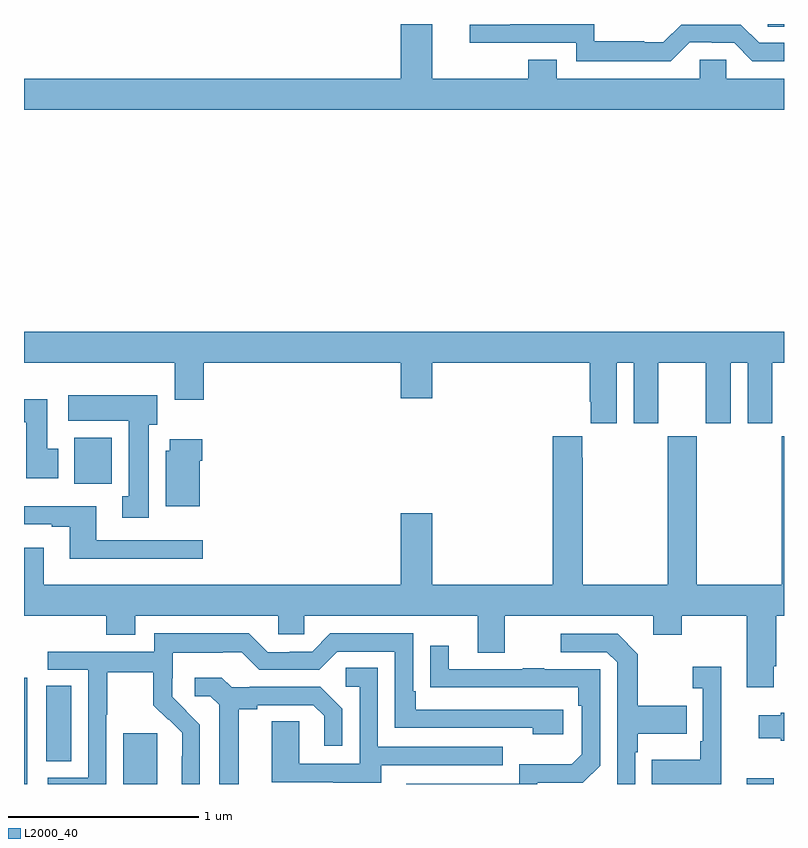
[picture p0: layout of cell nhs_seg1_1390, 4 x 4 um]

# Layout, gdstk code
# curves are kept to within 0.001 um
import gdstk
lib = gdstk.Library(unit=1e-6, precision=1e-09)
def R(c, l, rs):  # rectangles x0, y0, x1, y1
    for r in rs: c.add(gdstk.rectangle(r[:2], r[2:], *l))
def P(c, l, *ps):  # polygons
    for p in ps: c.add(gdstk.Polygon(p, *l))
L2000_40 = (2000, 40)

nhs_seg1_1390 = lib.new_cell('nhs_seg1_1390')
R(nhs_seg1_1390, L2000_40, [(187,532.199,187.018,532.759), (187.523,532.199,187.702,532.467), (190.805,532.199,190.945,532.228), (187.118,532.318,187.249,532.715), (187.265,533.78,187.462,534.022), (190.914,536.185,191,536.199)])
P(nhs_seg1_1390, L2000_40, [(190.503,536.103),(190.619,536.103),(190.619,536.1),(190.737,536.1),(190.833,536.004),(191,536.004),(191,536.1),(190.869,536.1),(190.773,536.196),(190.458,536.196),(190.365,536.103),(190.265,536.103),(190.265,536.107),(190.002,536.107),(190.002,536.199),(189.558,536.199),(189.558,536.196),(189.345,536.196),(189.345,536.1),(189.906,536.1),(189.906,536.003),(190.403,536.003)],
  [(191,535.912),(190.695,535.912),(190.695,536.01),(190.557,536.01),(190.557,535.912),(189.805,535.912),(189.805,536.011),(189.653,536.011),(189.653,535.912),(189.148,535.912),(189.148,536.199),(188.984,536.199),(188.984,535.912),(187,535.912),(187,535.748),(191,535.748)],
  [(190.12,534.416),(190.208,534.416),(190.208,534.099),(190.339,534.099),(190.339,534.416),(190.589,534.416),(190.589,534.099),(190.72,534.099),(190.72,534.416),(190.808,534.416),(190.808,534.099),(190.939,534.099),(190.939,534.416),(191,534.416),(191,534.58),(187,534.58),(187,534.416),(187.793,534.416),(187.793,534.222),(187.946,534.222),(187.946,534.416),(188.984,534.416),(188.984,534.228),(189.148,534.228),(189.148,534.416),(189.977,534.416),(189.977,534.211),(189.983,534.211),(189.983,534.099),(190.12,534.099)],
  [(187.657,534.09),(187.702,534.09),(187.702,534.244),(187.233,534.244),(187.233,534.11),(187.55,534.11),(187.55,533.714),(187.517,533.714),(187.517,533.601),(187.657,533.601)],
  [(187.18,533.964),(187.123,533.964),(187.123,534.223),(187,534.223),(187,534.104),(187.013,534.104),(187.013,533.808),(187.18,533.808)],
  [(190.945,532.819),(190.958,532.819),(190.958,533.084),(191,533.084),(191,534.028),(190.987,534.028),(190.987,533.248),(190.542,533.248),(190.542,534.028),(190.387,534.028),(190.387,533.248),(189.942,533.248),(189.942,533.915),(189.937,533.915),(189.937,534.028),(189.782,534.028),(189.782,533.248),(189.148,533.248),(189.148,533.623),(188.984,533.623),(188.984,533.248),(187.105,533.248),(187.105,533.443),(187,533.443),(187,533.084),(187.433,533.084),(187.433,532.985),(187.585,532.985),(187.585,533.084),(188.337,533.084),(188.337,532.986),(188.475,532.986),(188.475,533.084),(189.389,533.084),(189.389,532.89),(189.529,532.89),(189.529,533.084),(190.313,533.084),(190.313,532.985),(190.461,532.985),(190.461,533.084),(190.805,533.084),(190.805,532.707),(190.945,532.707)],
  [(187.924,533.9),(187.937,533.9),(187.937,534.013),(187.766,534.013),(187.766,533.952),(187.745,533.952),(187.745,533.66),(187.924,533.66)],
  [(187.942,533.481),(187.381,533.481),(187.381,533.662),(187,533.662),(187,533.565),(187.145,533.565),(187.145,533.553),(187.241,533.553),(187.241,533.384),(187.942,533.384)],
  [(187.434,532.564),(187.437,532.564),(187.437,532.788),(187.681,532.788),(187.681,532.613),(187.758,532.536),(187.761,532.539),(187.832,532.469),(187.832,532.346),(187.83,532.346),(187.83,532.199),(187.926,532.199),(187.926,532.51),(187.78,532.658),(187.78,532.755),(187.782,532.755),(187.782,532.889),(188.045,532.889),(188.045,532.893),(188.145,532.893),(188.238,532.8),(188.553,532.8),(188.649,532.896),(188.952,532.896),(188.952,532.494),(189.677,532.494),(189.677,532.46),(189.838,532.46),(189.838,532.59),(189.061,532.59),(189.061,532.687),(189.048,532.687),(189.048,532.992),(188.613,532.992),(188.517,532.896),(188.399,532.896),(188.399,532.893),(188.283,532.893),(188.183,532.993),(187.686,532.993),(187.686,532.896),(187.125,532.896),(187.125,532.8),(187.338,532.8),(187.338,532.233),(187.125,532.233),(187.125,532.199),(187.434,532.199)],
  [(190.218,532.367),(190.231,532.367),(190.231,532.463),(190.487,532.463),(190.487,532.611),(190.231,532.611),(190.231,532.883),(190.125,532.989),(189.825,532.989),(189.825,532.893),(190.068,532.893),(190.122,532.839),(190.122,532.199),(190.218,532.199)],
  [(189.702,532.206),(189.942,532.206),(190.032,532.296),(190.032,532.803),(189.737,532.803),(189.737,532.808),(189.625,532.808),(189.625,532.803),(189.235,532.803),(189.235,532.927),(189.139,532.927),(189.139,532.708),(189.916,532.707),(189.916,532.61),(189.936,532.61),(189.936,532.356),(189.883,532.303),(189.606,532.303),(189.606,532.2),(189.011,532.199),(189.702,532.199)],
  [(190.67,532.816),(190.521,532.816),(190.521,532.703),(190.572,532.703),(190.572,532.423),(190.56,532.423),(190.56,532.327),(190.303,532.327),(190.303,532.199),(190.67,532.199)],
  [(188.881,532.299),(189.521,532.299),(189.521,532.395),(188.862,532.395),(188.862,532.811),(188.694,532.811),(188.694,532.71),(188.766,532.71),(188.766,532.305),(188.448,532.305),(188.448,532.529),(188.303,532.529),(188.303,532.209),(188.627,532.209),(188.627,532.205),(188.881,532.205)],
  [(188.131,532.592),(188.227,532.592),(188.227,532.614),(188.522,532.614),(188.579,532.557),(188.579,532.401),(188.676,532.401),(188.676,532.594),(188.56,532.71),(188.188,532.71),(188.188,532.707),(188.094,532.707),(188.042,532.759),(187.899,532.759),(187.899,532.662),(187.98,532.662),(188.027,532.615),(188.027,532.199),(188.131,532.199)],
  [(191,532.574),(190.982,532.574),(190.982,532.561),(190.866,532.561),(190.866,532.439),(190.982,532.439),(190.982,532.427),(191,532.427)])

lib.write_gds('nhs_seg1_1390.gds')
